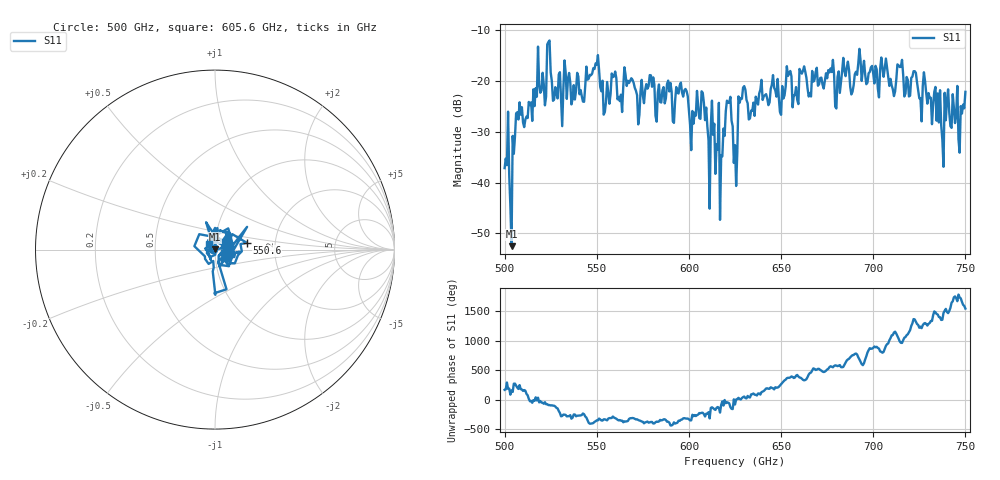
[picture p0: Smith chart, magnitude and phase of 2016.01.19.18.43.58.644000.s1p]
!Created with skrf (http://scikit-rf.org).
# GHz S RI R 50.0
!freq ReS11 ImS11
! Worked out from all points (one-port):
!   401 points, 500 GHz to 750 GHz, reference 50 ohm
!   lowest |S11| = -52.5 dB at 503.8 GHz (marker M1), VSWR 1.00, Z = 49.8 + j0.0877 ohm
!   |S11| at or under -10 dB: start of sweep to end of sweep
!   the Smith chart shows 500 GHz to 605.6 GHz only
!   S11 on the Smith chart (normalised r, x): 500 GHz: 0.97, +0.01; 550.6 GHz: 1.42, +0.11; 605.6 GHz: 0.94, +0.06
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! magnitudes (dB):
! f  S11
! 500 GHz  -37.1
! 503.8 GHz  -52.5
! 507.5 GHz  -27.5
! 521.2 GHz  -20.6
! 524.4 GHz  -12.0
! 527.5 GHz  -21.2
! 531.2 GHz  -28.9
! 550.6 GHz  -14.9
! 553.8 GHz  -26.6
! 559.4 GHz  -19.1
! 562.5 GHz  -23.9
! 566.2 GHz  -20.9
! 572.5 GHz  -28.5
! 593.8 GHz  -22.3
! 601.2 GHz  -33.6
! 605.6 GHz  -27.3
! 618.1 GHz  -34.8
! 621.2 GHz  -24.3
! 625 GHz  -32.6
! 629.4 GHz  -21.3
! 656.2 GHz  -25.2
! 687.5 GHz  -21.1
! 711.2 GHz  -22.9
! 714.4 GHz  -17.2
! 718.8 GHz  -19.8
! 733.8 GHz  -21.1
! 736.9 GHz  -28.7
! 750 GHz  -22.1
